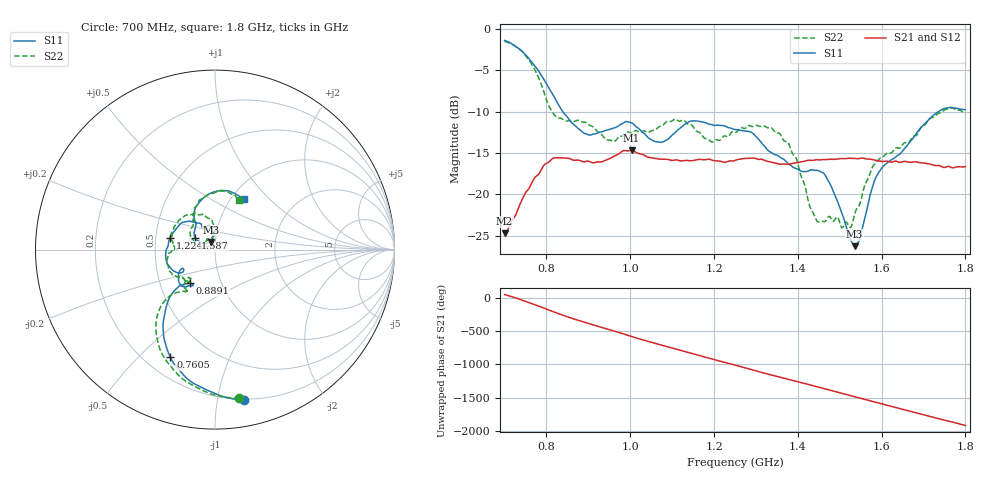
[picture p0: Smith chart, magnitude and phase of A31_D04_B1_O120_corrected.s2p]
! Created with skrf 1.9.0 (http://scikit-rf.org).
# Hz S RI R 50.0
!freq ReS11 ImS11 ReS21 ImS21 ReS12 ImS12 ReS22 ImS22
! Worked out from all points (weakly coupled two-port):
!   1601 points, 700 MHz to 1.8 GHz, reference 50 ohm
!   highest |S21| = -14.67 dB at 1.003 GHz (marker M1); lowest = -24.7 dB at 700 MHz (marker M2)
!   lowest |S11| = -26.3 dB at 1.535 GHz (marker M3), VSWR 1.10, Z = 47.6 + j4.1 ohm
!   |S11| at or under -10 dB: 838.8 MHz to 1.736 GHz (896.8 MHz wide, 69.7 % of centre)
!   |S22| runs from -24.1 to -1.5 dB; largest |S21 - S12| = 0.0033
!   S11 on the Smith chart (normalised r, x): 700 MHz: 0.20, -1.19; 760.5 MHz: 0.30, -0.63; 889.1 MHz: 0.71, -0.28; 1.224 GHz: 0.59, +0.08; 1.587 GHz: 0.80, +0.10; 1.8 GHz: 1.14, +0.72
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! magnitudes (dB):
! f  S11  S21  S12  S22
! 700 MHz  -1.4  -24.7  -24.5  -1.5
! 760.5 MHz  -3.7  -19.1  -19.0  -3.9
! 819.6 MHz  -8.4  -15.6  -15.7  -10.5
! 883.6 MHz  -12.4  -16.0  -15.9  -11.2
! 889.1 MHz  -12.6  -16.1  -16.0  -11.3
! 957.8 MHz  -12.0  -15.5  -15.5  -13.6
! 1.003 GHz  -11.4  -14.7  -14.8  -12.6
! 1.067 GHz  -13.7  -15.7  -15.7  -11.9
! 1.145 GHz  -11.1  -16.0  -16.0  -11.6
! 1.224 GHz  -11.7  -16.1  -16.1  -13.0
! 1.25 GHz  -12.2  -15.9  -15.8  -12.5
! 1.357 GHz  -15.5  -16.4  -16.3  -12.7
! 1.396 GHz  -16.9  -16.2  -16.2  -15.6
! 1.434 GHz  -17.0  -15.9  -15.9  -22.0
! 1.471 GHz  -18.3  -15.8  -15.8  -22.8
! 1.524 GHz  -25.3  -15.6  -15.6  -24.0
! 1.535 GHz  -26.3  -15.7  -15.7  -22.5
! 1.548 GHz  -25.3  -15.7  -15.6  -21.1
! 1.587 GHz  -17.9  -15.9  -15.9  -16.2
! 1.617 GHz  -16.1  -16.0  -16.0  -15.0
! 1.733 GHz  -10.1  -16.5  -16.5  -10.3
! 1.8 GHz  -9.8  -16.7  -16.7  -10.2
